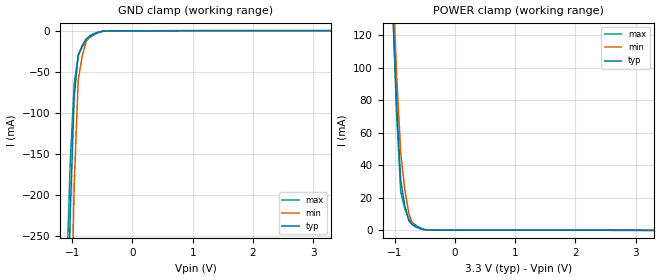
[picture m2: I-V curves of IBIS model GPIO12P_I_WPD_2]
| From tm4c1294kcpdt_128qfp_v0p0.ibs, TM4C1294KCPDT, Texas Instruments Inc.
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|   Model Cell GPIO12P_I_WPD_2
[Model]   GPIO12P_I_WPD_2
Model_type   Input
Polarity   Non-Inverting
Vinl =  0.8
Vinh =  2
C_comp   6.029616p   5.226915p   6.778838p
[Model Spec]
Vinl   0.8   0.8   0.8
Vinh   2   2   2
[Temperature Range]   25   125   -40
[Voltage Range]   3.3   2.97   3.63
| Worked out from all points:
|   GND clamp passes 1 mA (typ) near -0.52 V on its own axis
|   POWER clamp passes 1 mA (typ) near -0.57 V on its own axis
| Nom Voltages:
|   IBIASFET=3.3, VDDC=1.2, VDD=3.3, GND=0
| Min Voltages:
|   IBIASFET=2.97, VDDC=1.08, VDD=2.97, GND=0
| Max Voltages:
|   IBIASFET=3.63, VDDC=1.32, VDD=3.63, GND=0
[POWER_clamp]
|   voltage   I(typ)   I(min)   I(max)
-3.3V     3.668A     4.187A     4.057A
-1.033V   137.2mA    154.8mA    137.3mA
-966.7mV  76.04mA    94.43mA    70.11mA
-900mV    30.72mA    47.62mA    23.8mA
-833.3mV  15.25mA    25.33mA    13.39mA
-766.7mV  6.054mA    10.63mA    6.967mA
-700mV    3.122mA    3.505mA    4.521mA
-566.7mV  992.4uA    930.8uA    1.406mA
-500mV    375.5uA    371.7uA    514.2uA
-366.7mV  172.2uA    108.8uA    285.5uA
3.3V      -147.2pA   -44.58uA   78.8uA
[GND_clamp]
|   voltage   I(typ)   I(min)   I(max)
-3.3V     -18.01A    -17.27A    -18.6A
-1.1V     -459.9mA   -734.3mA   -318.7mA
-1.033V   -223.6mA   -411.6mA   -160.4mA
-966.7mV  -80.11mA   -186.8mA   -64.21mA
-900mV    -29.5mA    -59.8mA    -30.1mA
-833.3mV  -17.66mA   -30.4mA    -19.41mA
-766.7mV  -9.793mA   -12.29mA   -11.98mA
-700mV    -5.915mA   -5.456mA   -7.808mA
-500mV    -561.2uA   -614.3uA   -671.8uA
-366.7mV  -86.04uA   -85.03uA   -117.5uA
3.3V      162.1uA    89.86uA    277.3uA
